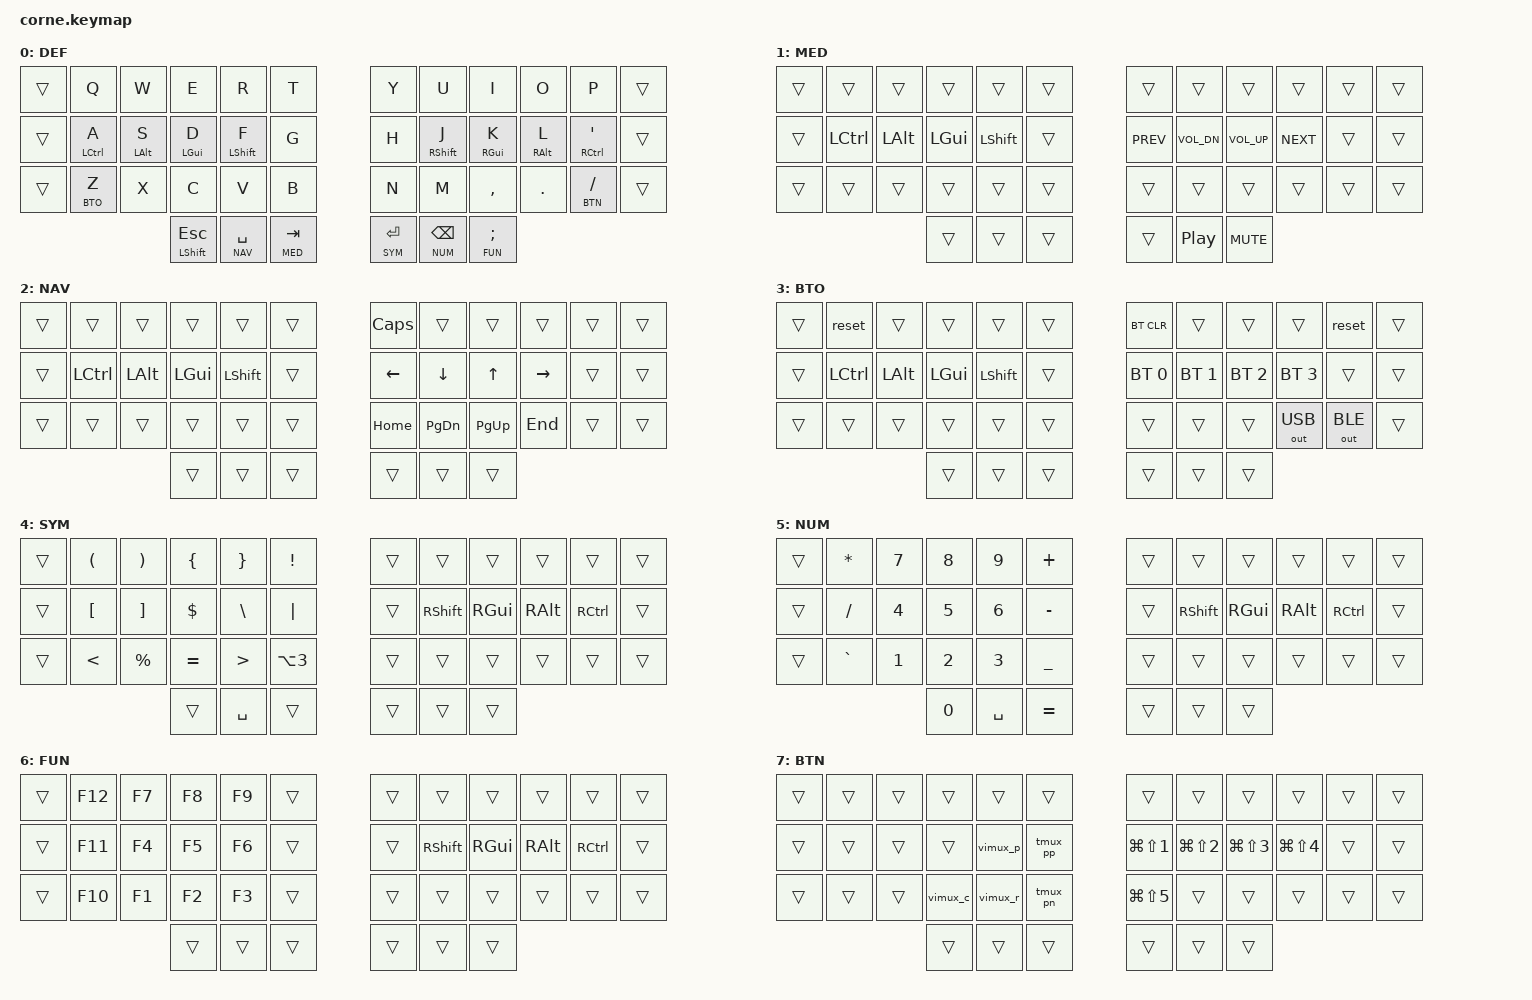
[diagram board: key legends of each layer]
/*
 * Copyright (c) 2020 The ZMK Contributors
 *
 * SPDX-License-Identifier: MIT
 */

#include <behaviors.dtsi>
#include <dt-bindings/zmk/keys.h>
#include <dt-bindings/zmk/bt.h>
#include <dt-bindings/zmk/outputs.h>

// Layers

#define QWE 0
#define MED 1
#define NAV 2
#define BTO 3
#define SYM 4
#define NUM 5
#define FUN 6
#define BTN 7

&mt {
    flavor = "hold-preferred";
    tapping-term-ms = <180>;
};

&lt {
    flavor = "balanced";
    tapping-term-ms = <180>;
};

/ {
		behaviors {
			am: alpha_mods {
				compatible = "zmk,behavior-hold-tap";
				label = "ALPHA_MT";
				#binding-cells = <2>;
				tapping-term-ms = <250>;
				quick-tap-ms = <150>;
				flavor = "tap-preferred";
				bindings = <&kp>, <&kp>;
			};
			as: alpha_shift {
				compatible = "zmk,behavior-hold-tap";
				label = "ALPHA_SFT";
				#binding-cells = <2>;
				tapping-term-ms = <200>;
				quick-tap-ms = <150>;
				flavor = "tap-preferred";
				bindings = <&kp>, <&kp>;
			};
		};
		macros {
			vimux_p: vimux_p {
				label = "VIMUX_P";
				compatible = "zmk,behavior-macro";
				#binding-cells = <0>;
				wait-ms = <40>;
				tap-ms = <40>;
				bindings
					= <&kp BSLH &kp V &kp P>
					;
			};
			vimux_r: vimux_r {
				label = "VIMUX_R";
				compatible = "zmk,behavior-macro";
				#binding-cells = <0>;
				wait-ms = <40>;
				tap-ms = <40>;
				bindings
					= <&kp BSLH &kp R>
					;
			};
			vimux_c: vimux_c {
				label = "VIMUX_C";
				compatible = "zmk,behavior-macro";
				#binding-cells = <0>;
				wait-ms = <40>;
				tap-ms = <40>;
				bindings
					= <&kp BSLH &kp C>
					;
			};
			tmux_pp: tmux_pp {
				label = "TMUX_PP";
				compatible = "zmk,behavior-macro";
				#binding-cells = <0>;
				wait-ms = <40>;
				tap-ms = <40>;
				bindings
					= <&macro_press &kp LCTRL>
					, <&macro_tap &kp B>
					, <&macro_release &kp LCTRL>
					, <&macro_tap &kp P>
					;
			};
			tmux_pn: tmux_pn {
				label = "TMUX_PN";
				compatible = "zmk,behavior-macro";
				#binding-cells = <0>;
				wait-ms = <40>;
				tap-ms = <40>;
				bindings
					= <&macro_press &kp LCTRL>
					, <&macro_tap &kp B>
					, <&macro_release &kp LCTRL>
					, <&macro_tap &kp O>
					;
			};
		};
		keymap {
				compatible = "zmk,keymap";

				default_layer {
					label = "DEF";
					bindings = <
   &trans     &kp Q        &kp W           &kp E           &kp R           &kp T                   &kp Y            &kp U          &kp I          &kp O         &kp P             &trans
   &trans     &am LCTRL A  &am LALT S      &am LGUI D      &as LSHFT F     &kp G                   &kp H            &as RSHFT J    &am RGUI K     &am RALT L    &am RCTRL APOS    &trans
   &trans     &lt BTO Z    &kp X           &kp C           &kp V           &kp B                   &kp N            &kp M          &kp COMMA      &kp DOT       &lt BTN FSLH      &trans
						                   &am LSHFT ESC   &lt NAV SPACE   &lt MED TAB             &lt SYM RET    &lt NUM BSPC     &lt FUN SEMI
					>;
				};

				media_layer {
					label = "MED";
					bindings = <
   &trans     &trans        &trans           &trans           &trans           &trans                   &trans        &trans          &trans          &trans         &trans          &trans
   &trans     &kp LCTRL     &kp LALT         &kp LGUI         &kp LSHFT        &trans                   &kp C_PREV    &kp C_VOL_DN    &kp C_VOL_UP    &kp C_NEXT     &trans          &trans
   &trans     &trans        &trans           &trans           &trans           &trans                   &trans        &trans          &trans          &trans         &trans          &trans
							                 &trans           &trans           &trans                   &trans        &kp C_PP        &kp K_MUTE
					>;
				};

				navigation_layer {
					label = "NAV";
					bindings = <
   &trans     &trans        &trans           &trans           &trans           &trans                   &kp CAPS      &trans          &trans          &trans         &trans          &trans
   &trans     &kp LCTRL     &kp LALT         &kp LGUI         &kp LSHFT        &trans                   &kp LEFT      &kp DOWN        &kp UP          &kp RIGHT      &trans          &trans
   &trans     &trans        &trans           &trans           &trans           &trans                   &kp HOME      &kp PG_DN       &kp PG_UP       &kp END        &trans          &trans
							                 &trans           &trans           &trans                   &trans        &trans          &trans
					>;
				};

				bluetooth_layer {
					label = "BTO";
					bindings = <
   &trans     &reset        &trans           &trans           &trans           &trans                   &bt BT_CLR    &trans          &trans          &trans         &reset          &trans
   &trans     &kp LCTRL     &kp LALT         &kp LGUI         &kp LSHFT        &trans                   &bt BT_SEL 0  &bt BT_SEL 1    &bt BT_SEL 2    &bt BT_SEL 3   &trans          &trans
   &trans     &trans        &trans           &trans           &trans           &trans                   &trans        &trans          &trans          &out OUT_USB   &out OUT_BLE    &trans
							                 &trans           &trans           &trans                   &trans        &trans          &trans
					>;
				};

				symbols_layer {
					label = "SYM";
					bindings = <
   &trans     &kp LPAR      &kp RPAR         &kp LBRC         &kp RBRC         &kp EXCL                 &trans        &trans          &trans          &trans         &trans          &trans
   &trans     &kp LBKT      &kp RBKT         &kp DLLR         &kp BSLH         &kp PIPE                 &trans        &kp RSHFT       &kp RGUI        &kp RALT       &kp RCTRL       &trans
   &trans     &kp LT        &kp PRCNT        &kp EQUAL        &kp GT           &kp LA(N3)               &trans        &trans          &trans          &trans         &trans          &trans
							                 &trans           &kp SPACE        &trans                   &trans        &trans          &trans
					>;
				};

				numbers_layer {
					label = "NUM";
					bindings = <
   &trans     &kp STAR      &kp N7           &kp N8           &kp N9           &kp PLUS                 &trans        &trans          &trans          &trans         &trans          &trans
   &trans     &kp FSLH      &kp N4           &kp N5           &kp N6           &kp MINUS                &trans        &kp RSHFT       &kp RGUI        &kp RALT       &kp RCTRL       &trans
   &trans     &kp GRAVE     &kp N1           &kp N2           &kp N3           &kp UNDER                &trans        &trans          &trans          &trans         &trans          &trans
							                 &kp N0           &kp SPACE        &kp EQUAL                &trans        &trans          &trans
					>;
				};

				function_layer {
					label = "FUN";
					bindings = <
   &trans     &kp F12     &kp F7           &kp F8           &kp F9           &trans                &trans        &trans          &trans          &trans         &trans          &trans
   &trans     &kp F11     &kp F4           &kp F5           &kp F6           &trans                &trans        &kp RSHFT       &kp RGUI        &kp RALT       &kp RCTRL       &trans
   &trans     &kp F10     &kp F1           &kp F2           &kp F3           &trans                &trans        &trans          &trans          &trans         &trans          &trans
							               &trans           &trans           &trans                &trans        &trans          &trans
					>;
				};

				macro_layer {
					label = "BTN";
					bindings = <
   &trans     &trans       &trans          &trans           &trans           &trans                &trans           &trans           &trans          &trans           &trans          &trans
   &trans     &trans       &trans          &trans           &vimux_p         &tmux_pp              &kp LG(LS(N1))   &kp LG(LS(N2))   &kp LG(LS(N3))  &kp LG(LS(N4))   &trans          &trans
   &trans     &trans       &trans          &vimux_c         &vimux_r         &tmux_pn              &kp LG(LS(N5))   &trans           &trans          &trans           &trans          &trans
							               &trans           &trans           &trans                &trans           &trans           &trans
					>;
				};
		};
};





// -----------------------------------------------------------------------------------------
// |      |     |     |     |     |     |   |     |      |     |     |     |      |
// |      |     |     |     |     |     |   |     |      |     |     |     |      |
// |      |     |     |     |     |     |   |     |      |     |     |     |      |
//                    |     |     |     |   |     |      |     |
